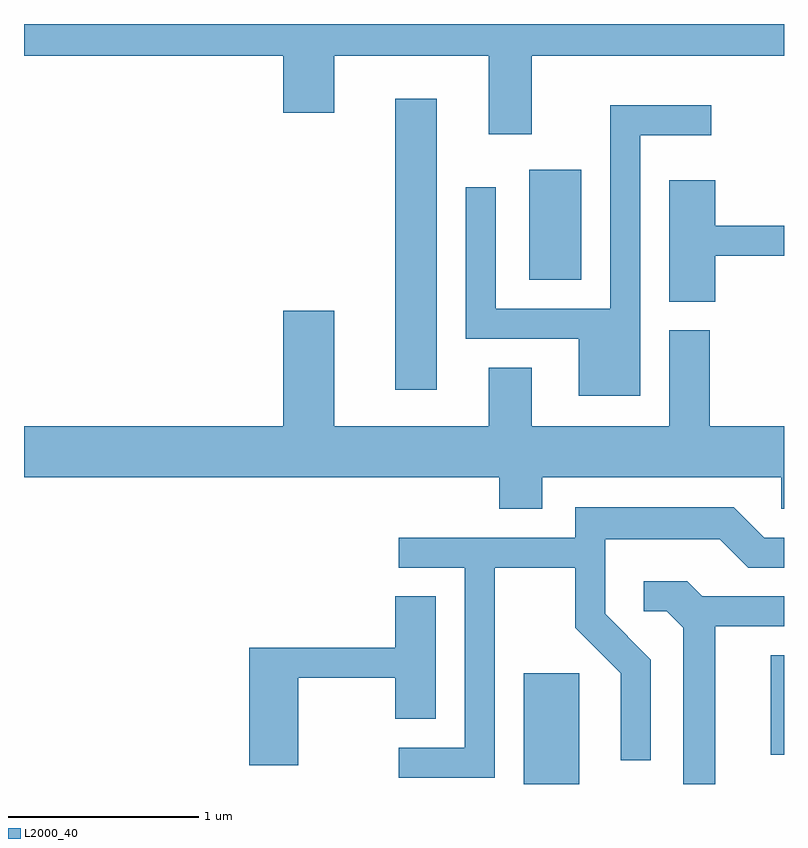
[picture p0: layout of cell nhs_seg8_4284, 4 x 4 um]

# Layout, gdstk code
import gdstk
lib = gdstk.Library(unit=1e-6, precision=1e-09)
def R(c, l, rs):  # rectangles x0, y0, x1, y1
    for r in rs: c.add(gdstk.rectangle(r[:2], r[2:], *l))
def P(c, l, *ps):  # polygons
    for p in ps: c.add(gdstk.Polygon(p, *l))
L2000_40 = (2000, 40)

nhs_seg8_4284 = lib.new_cell('nhs_seg8_4284')
R(nhs_seg8_4284, L2000_40, [(316.241,1850.342,316.534,1850.924), (317.541,1850.496,317.611,1851.019), (315.566,1852.416,315.784,1853.949), (316.271,1852.996,316.544,1853.574)])
P(nhs_seg8_4284, L2000_40, [(316.284,1854.176),(317.611,1854.176),(317.611,1854.342),(313.611,1854.342),(313.611,1854.176),(314.976,1854.176),(314.976,1853.876),(315.244,1853.876),(315.244,1854.176),(316.056,1854.176),(316.056,1853.761),(316.284,1853.761)],
  [(316.854,1853.756),(317.228,1853.756),(317.228,1853.914),(316.696,1853.914),(316.696,1852.844),(316.094,1852.844),(316.094,1853.483),(315.936,1853.483),(315.936,1852.686),(316.531,1852.686),(316.531,1852.386),(316.854,1852.386)],
  [(317.249,1853.121),(317.611,1853.121),(317.611,1853.279),(317.249,1853.279),(317.249,1853.519),(317.006,1853.519),(317.006,1852.881),(317.249,1852.881)],
  [(316.339,1851.956),(317.596,1851.956),(317.596,1851.791),(317.611,1851.791),(317.611,1852.224),(317.219,1852.224),(317.219,1852.729),(317.006,1852.729),(317.006,1852.224),(316.284,1852.224),(316.284,1852.534),(316.056,1852.534),(316.056,1852.224),(315.244,1852.224),(315.244,1852.834),(314.976,1852.834),(314.976,1852.224),(313.611,1852.224),(313.611,1851.956),(316.111,1851.956),(316.111,1851.791),(316.339,1851.791)],
  [(316.089,1851.481),(316.511,1851.481),(316.511,1851.164),(316.751,1850.924),(316.751,1850.468),(316.909,1850.468),(316.909,1850.997),(316.669,1851.237),(316.669,1851.631),(317.274,1851.631),(317.424,1851.481),(317.611,1851.481),(317.611,1851.639),(317.507,1851.639),(317.347,1851.799),(316.511,1851.799),(316.511,1851.639),(315.583,1851.639),(315.583,1851.481),(315.931,1851.481),(315.931,1850.534),(315.583,1850.534),(315.583,1850.376),(316.089,1850.376)],
  [(317.249,1851.171),(317.611,1851.171),(317.611,1851.329),(317.182,1851.329),(317.102,1851.409),(316.873,1851.409),(316.873,1851.251),(316.994,1851.251),(317.081,1851.164),(317.081,1850.342),(317.249,1850.342)],
  [(315.054,1850.901),(315.566,1850.901),(315.566,1850.686),(315.779,1850.686),(315.779,1851.329),(315.566,1851.329),(315.566,1851.059),(314.796,1851.059),(314.796,1850.441),(315.054,1850.441)])

lib.write_gds('nhs_seg8_4284.gds')
